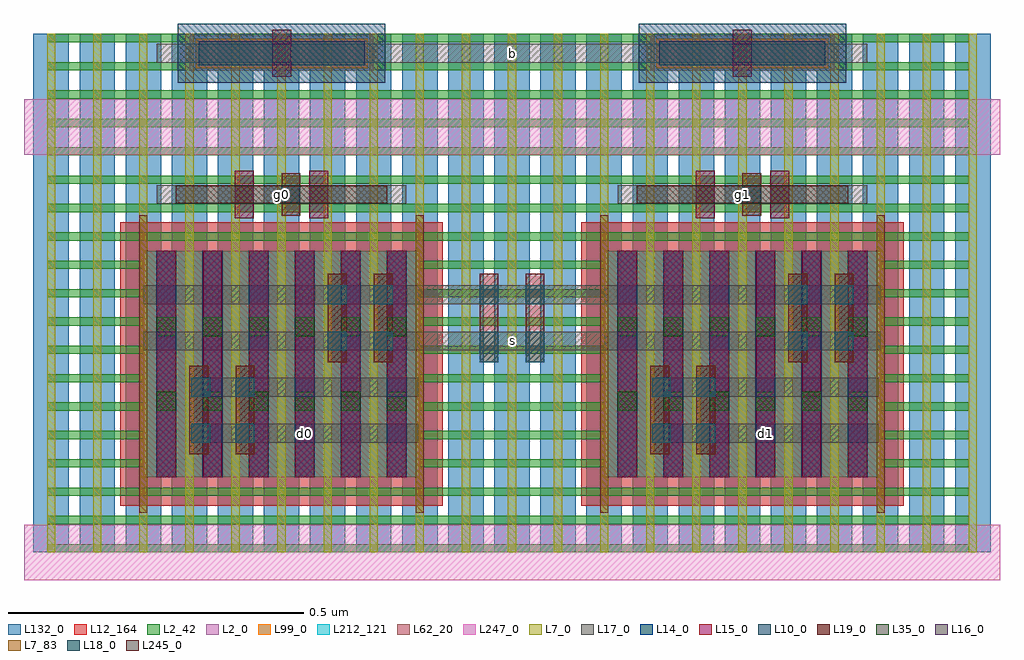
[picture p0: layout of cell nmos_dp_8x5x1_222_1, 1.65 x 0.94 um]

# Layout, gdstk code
import gdstk
lib = gdstk.Library(unit=1e-6, precision=1e-12)
def R(c, l, rs):  # rectangles x0, y0, x1, y1
    for r in rs: c.add(gdstk.rectangle(r[:2], r[2:], *l))
def A(c, l, x, y, w, h, nx, ny, dx, dy):  # array of equal rectangles
    R(c, l, [(x+i*dx, y+j*dy, x+i*dx+w, y+j*dy+h) for i in range(nx) for j in range(ny)])
L2_0 = (2, 0)
L2_42 = (2, 42)
L7_0 = (7, 0)
L7_83 = (7, 83)
L10_0 = (10, 0)
L12_164 = (12, 164)
L14_0 = (14, 0)
L15_0 = (15, 0)
L16_0 = (16, 0)
L17_0 = (17, 0)
L18_0 = (18, 0)
L19_0 = (19, 0)
L35_0 = (35, 0)
L62_20 = (62, 20)
L99_0 = (99, 0)
L132_0 = (132, 0)
L212_121 = (212, 121)
L245_0 = (245, 0)
L247_0 = (247, 0)

nmos_dp_8x5x1_222_1 = lib.new_cell('nmos_dp_8x5x1_222_1')
R(nmos_dp_8x5x1_222_1, L2_0, [(0.186,0.127,0.654,0.511), (0.966,0.127,1.434,0.511), (0.2645,0.815,0.5755,0.875), (1.0445,0.815,1.3555,0.875)])
A(nmos_dp_8x5x1_222_1, L2_42, 0.023, 0, 1.56, 0.014, 1, 19, 0, 0.048)
A(nmos_dp_8x5x1_222_1, L7_0, 0.023, 0, 0.014, 0.878, 21, 1, 0.078, 0)
R(nmos_dp_8x5x1_222_1, L7_83, [(0.179,0.067,0.193,0.571), (0.647,0.067,0.661,0.571), (0.959,0.067,0.973,0.571), (1.427,0.067,1.441,0.571)])
R(nmos_dp_8x5x1_222_1, L10_0, [(0.2445,0.795,0.5955,0.895), (1.0245,0.795,1.3755,0.895)])
R(nmos_dp_8x5x1_222_1, L12_164, [(0.147,0.079,0.693,0.559), (0.927,0.079,1.473,0.559)])
A(nmos_dp_8x5x1_222_1, L14_0, 0.208, 0.127, 0.034, 0.384, 6, 1, 0.078, 0)
A(nmos_dp_8x5x1_222_1, L14_0, 0.988, 0.127, 0.034, 0.384, 6, 1, 0.078, 0)
R(nmos_dp_8x5x1_222_1, L14_0, [(0.2795,0.825,0.5605,0.865), (1.0595,0.825,1.3405,0.865)])
A(nmos_dp_8x5x1_222_1, L15_0, 0.209, 0.127, 0.032, 0.384, 6, 1, 0.078, 0)
A(nmos_dp_8x5x1_222_1, L15_0, 0.989, 0.127, 0.032, 0.384, 6, 1, 0.078, 0)
R(nmos_dp_8x5x1_222_1, L15_0, [(0.341,0.566,0.373,0.646), (0.467,0.566,0.499,0.646), (1.121,0.566,1.153,0.646), (1.247,0.566,1.279,0.646), (0.404,0.805,0.436,0.885), (1.184,0.805,1.216,0.885)])
A(nmos_dp_8x5x1_222_1, L16_0, 0.287, 0.186, 0.032, 0.032, 3, 2, 0.156, 0.078)
A(nmos_dp_8x5x1_222_1, L16_0, 1.067, 0.186, 0.032, 0.032, 3, 2, 0.156, 0.078)
A(nmos_dp_8x5x1_222_1, L16_0, 0.209, 0.342, 0.032, 0.032, 3, 2, 0.156, 0.078)
A(nmos_dp_8x5x1_222_1, L16_0, 0.989, 0.342, 0.032, 0.032, 3, 2, 0.156, 0.078)
R(nmos_dp_8x5x1_222_1, L16_0, [(0.341,0.59,0.373,0.622), (0.467,0.59,0.499,0.622), (1.121,0.59,1.153,0.622), (1.247,0.59,1.279,0.622), (0.404,0.829,0.436,0.861), (1.184,0.829,1.216,0.861)])
R(nmos_dp_8x5x1_222_1, L17_0, [(0.267,0.186,0.651,0.218), (1.047,0.186,1.431,0.218), (0.267,0.264,0.651,0.296), (1.047,0.264,1.431,0.296), (0.186,0.342,0.654,0.374), (0.644,0.342,0.976,0.374), (0.966,0.342,1.434,0.374), (0.186,0.42,0.654,0.452), (0.644,0.42,0.976,0.452), (0.966,0.42,1.434,0.452), (0.209,0.59,0.631,0.622), (0.989,0.59,1.411,0.622), (0.209,0.829,0.631,0.861), (0.621,0.829,0.999,0.861), (0.989,0.829,1.411,0.861)])
R(nmos_dp_8x5x1_222_1, L18_0, [(0.267,0.186,0.299,0.218), (0.342,0.186,0.374,0.218), (1.047,0.186,1.079,0.218), (1.122,0.186,1.154,0.218), (0.267,0.264,0.299,0.296), (0.342,0.264,0.374,0.296), (1.047,0.264,1.079,0.296), (1.122,0.264,1.154,0.296), (0.755,0.322,0.787,0.354), (0.833,0.322,0.865,0.354), (0.498,0.342,0.53,0.374), (0.576,0.342,0.608,0.374), (0.755,0.342,0.787,0.374), (0.833,0.342,0.865,0.374), (1.278,0.342,1.31,0.374), (1.356,0.342,1.388,0.374), (0.498,0.42,0.53,0.452), (0.576,0.42,0.608,0.452), (0.755,0.42,0.787,0.452), (0.833,0.42,0.865,0.452), (1.278,0.42,1.31,0.452), (1.356,0.42,1.388,0.452), (0.42,0.59,0.452,0.622), (1.2,0.59,1.232,0.622)])
R(nmos_dp_8x5x1_222_1, L19_0, [(0.264,0.166,0.296,0.316), (0.342,0.166,0.374,0.316), (1.044,0.166,1.076,0.316), (1.122,0.166,1.154,0.316), (0.498,0.322,0.53,0.472), (0.576,0.322,0.608,0.472), (0.755,0.322,0.787,0.472), (0.833,0.322,0.865,0.472), (1.278,0.322,1.31,0.472), (1.356,0.322,1.388,0.472), (0.42,0.57,0.452,0.642), (1.2,0.57,1.232,0.642)])
A(nmos_dp_8x5x1_222_1, L35_0, 0.209, 0.24, 0.032, 0.032, 6, 2, 0.078, 0.126)
A(nmos_dp_8x5x1_222_1, L35_0, 0.989, 0.24, 0.032, 0.032, 6, 2, 0.078, 0.126)
R(nmos_dp_8x5x1_222_1, L35_0, [(0.341,0.59,0.373,0.622), (0.467,0.59,0.499,0.622), (1.121,0.59,1.153,0.622), (1.247,0.59,1.279,0.622), (0.404,0.829,0.436,0.861), (1.184,0.829,1.216,0.861)])
R(nmos_dp_8x5x1_222_1, L62_20, [(0.186,0.127,0.654,0.511), (0.966,0.127,1.434,0.511)])
R(nmos_dp_8x5x1_222_1, L99_0, [(0.186,0.127,0.654,0.511), (0.966,0.127,1.434,0.511), (0.2745,0.82,0.5655,0.87), (1.0545,0.82,1.3455,0.87)])
A(nmos_dp_8x5x1_222_1, L132_0, 0, 0, 0.06, 0.878, 21, 1, 0.078, 0)
R(nmos_dp_8x5x1_222_1, L212_121, [(0.186,0.127,0.654,0.511), (0.966,0.127,1.434,0.511)])
R(nmos_dp_8x5x1_222_1, L245_0, [(0.241,0.591,0.599,0.621), (1.021,0.591,1.379,0.621)])
R(nmos_dp_8x5x1_222_1, L247_0, [(-0.016,-0.047,0.856,0.047), (0.764,-0.047,1.636,0.047), (-0.016,0.673,0.856,0.767), (0.764,0.673,1.636,0.767)])
nmos_dp_8x5x1_222_1.add(gdstk.Label('s', (0.81,0.358), layer=16, texttype=20))
nmos_dp_8x5x1_222_1.add(gdstk.Label('d1', (1.239,0.202), layer=16, texttype=20))
nmos_dp_8x5x1_222_1.add(gdstk.Label('d0', (0.459,0.202), layer=16, texttype=20))
nmos_dp_8x5x1_222_1.add(gdstk.Label('g0', (0.42,0.606), layer=16, texttype=20))
nmos_dp_8x5x1_222_1.add(gdstk.Label('g1', (1.2,0.606), layer=16, texttype=20))
nmos_dp_8x5x1_222_1.add(gdstk.Label('b', (0.81,0.845), layer=16, texttype=20))

lib.write_gds('nmos_dp_8x5x1_222_1.gds')
